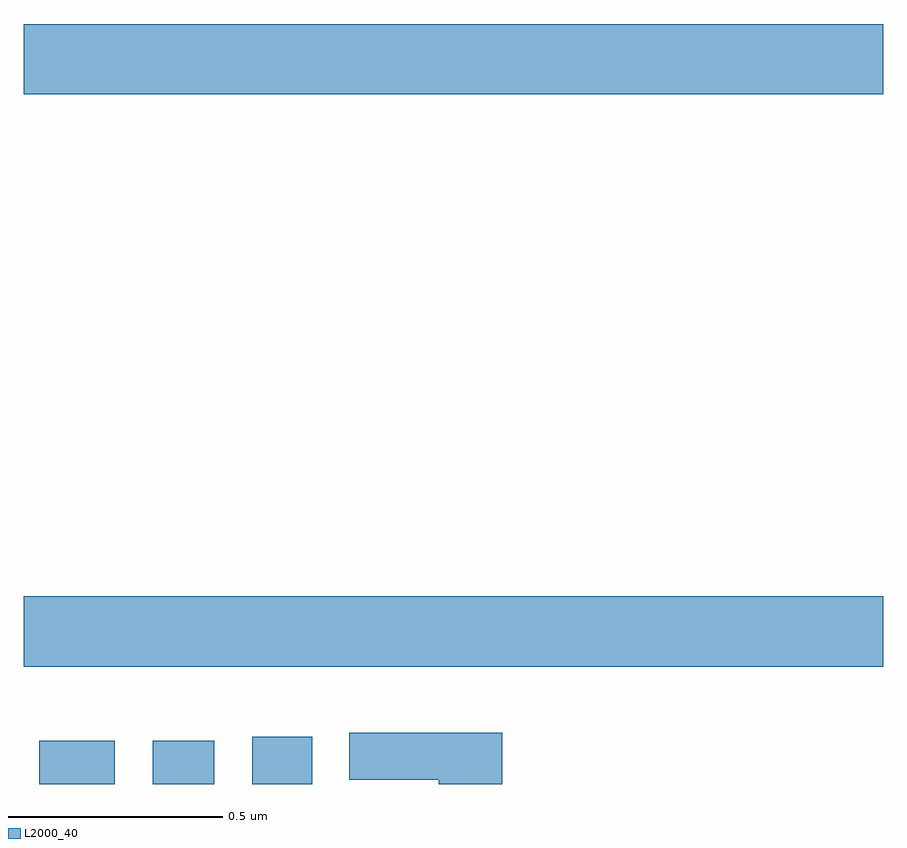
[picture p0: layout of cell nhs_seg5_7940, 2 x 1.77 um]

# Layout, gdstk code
import gdstk
lib = gdstk.Library(unit=1e-6, precision=1e-09)
def R(c, l, rs):  # rectangles x0, y0, x1, y1
    for r in rs: c.add(gdstk.rectangle(r[:2], r[2:], *l))
def P(c, l, *ps):  # polygons
    for p in ps: c.add(gdstk.Polygon(p, *l))
L2000_40 = (2000, 40)

nhs_seg5_7940 = lib.new_cell('nhs_seg5_7940')
R(nhs_seg5_7940, L2000_40, [(215.036,877.799,215.212,877.9), (215.3,877.799,215.443,877.9), (215.531,877.799,215.671,877.909), (215,878.072,217,878.236), (215,879.404,217,879.568)])
P(nhs_seg5_7940, L2000_40, [(216.113,877.918),(215.757,877.918),(215.757,877.809),(215.966,877.809),(215.966,877.799),(216.113,877.799)])

lib.write_gds('nhs_seg5_7940.gds')
